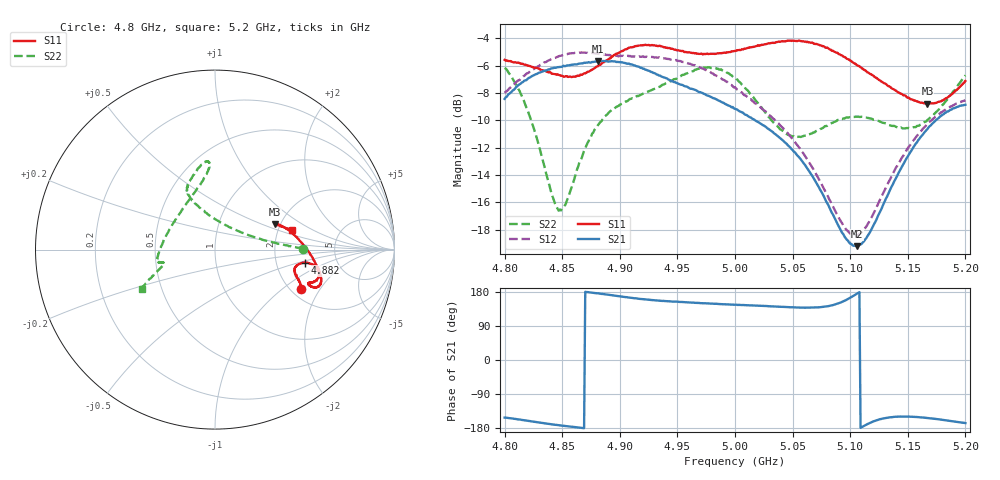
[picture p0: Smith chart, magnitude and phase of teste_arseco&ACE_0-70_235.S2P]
! Network Analyzer HP8722D
! Hewlett-Packard
! Data name: Linha & Wilkinson
! Saver's name: Rodrigo Anjos
! Comments: Teste da utilização de aquisição
! continua pelo VNA HP8722D
! Time and date: 8/5/2025 14:43
!  Frequency  S11  S21  S12  S22
# HZ  S  MA R 50
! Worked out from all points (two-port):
!   401 points, 4.8 GHz to 5.2 GHz, reference 50 ohm
!   highest |S21| = -5.65 dB at 4.881 GHz (marker M1); lowest = -19.2 dB at 5.106 GHz (marker M2)
!   |S21| within 3 dB of the highest: start of sweep to 4.988 GHz
!   lowest |S11| = -8.8 dB at 5.167 GHz (marker M3), VSWR 2.14, Z = 93.7 + j30.9 ohm
!   |S11| at or under -10 dB: nowhere
!   |S22| runs from -16.6 to -6.1 dB; largest |S21 - S12| = 1.1
!   S11 on the Smith chart (normalised r, x): 4.8 GHz: 2.24, -1.38; 4.882 GHz: 2.91, -0.57; 5.2 GHz: 2.36, +0.65
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4.8e9  0.5265 -24.9  0.379 -152.0  0.3989 7.6  0.492 0.6
4.818e9  0.5056 -21.2  0.4429 -159.5  0.4646 4.8  0.3604 5.1
4.846e9  0.4663 -16.3  0.495 -171.8  0.5403 0.4  0.1501 54.4
4.853e9  0.4589 -14.6  0.4997 -174.5  0.5509 -0.8  0.156 80.2
4.867e9  0.4641 -11.0  0.5111 -179.1  0.5603 -2.9  0.2307 107.7
4.881e9  0.4991 -8.4  0.522 176.0  0.5545 -4.0  0.3038 115.2
4.882e9  0.5046 -8.4  0.52 175.4  0.5539 -3.8  0.3075 114.7
4.909e9  0.5853 -11.1  0.507 164.4  0.5443 -3.2  0.379 114.4
4.934e9  0.592 -16.6  0.4613 156.5  0.5378 -4.0  0.4191 108.2
4.974e9  0.5526 -19.8  0.3944 149.7  0.484 -7.5  0.4925 95.9
5e9  0.5676 -20.7  0.3487 145.8  0.4182 -7.5  0.4531 94.5
5.018e9  0.5904 -20.9  0.315 143.7  0.3642 -4.3  0.3734 102.5
5.044e9  0.616 -18.7  0.2614 139.8  0.2887 1.2  0.2828 132.4
5.067e9  0.6087 -14.0  0.1984 138.3  0.2133 8.6  0.2837 165.0
5.094e9  0.5417 -4.3  0.1212 154.8  0.1305 34.4  0.3214 -173.0
5.106e9  0.5029 1.3  0.1096 175.2  0.1203 57.7  0.3259 -169.0
5.116e9  0.4721 6.4  0.1211 -167.6  0.1336 76.3  0.3226 -167.4
5.134e9  0.4211 15.5  0.1739 -151.4  0.1901 94.2  0.3039 -166.4
5.152e9  0.3789 21.6  0.2411 -149.5  0.2565 99.1  0.2959 -164.6
5.167e9  0.3639 23.1  0.294 -153.0  0.3068 99.7  0.3173 -161.8
5.183e9  0.3803 20.6  0.3376 -159.2  0.347 99.6  0.3713 -157.4
5.2e9  0.4405 14.6  0.3605 -166.4  0.3752 100.1  0.4618 -152.0
